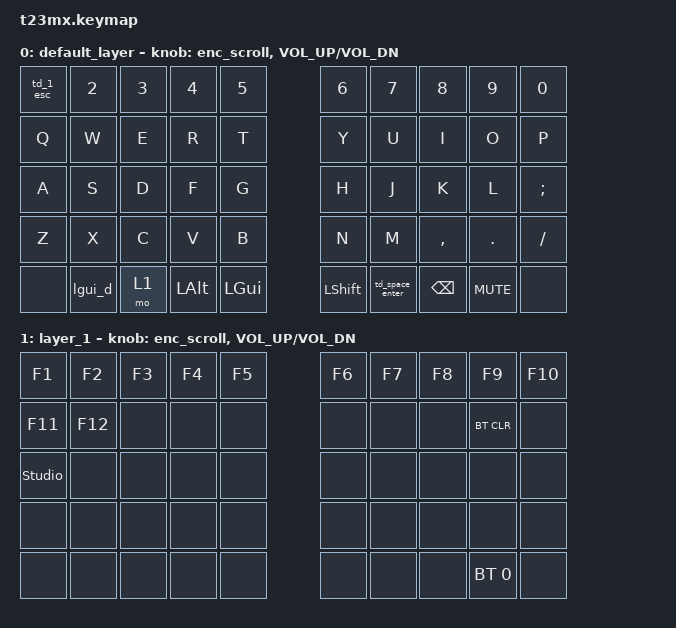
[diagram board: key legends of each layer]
// This file was generated from a template. Edit it to match your keyboard.
// See https://zmk.dev/docs/development/hardware-integration/new-shield for more instructions.

#include <behaviors.dtsi>
#include <dt-bindings/zmk/keys.h>
#include <dt-bindings/zmk/bt.h>
#include <dt-bindings/zmk/pointing.h>

/ {
    behaviors {
        lgui_d: lgui_d {
            compatible = "zmk,behavior-macro";
            #binding-cells = <0>;
            bindings = <&macro_press &kp LGUI
                        &macro_tap   &kp D
                        &macro_release &kp LGUI>;
        };

        td_space_enter: td_space_enter {
            compatible = "zmk,behavior-tap-dance";
            #binding-cells = <0>;
            tapping-term-ms = <200>;
            bindings = <&kp SPACE>, <&kp ENTER>;
        };

        td_1_esc: td_1_esc {
            compatible = "zmk,behavior-tap-dance";
            #binding-cells = <0>;
            tapping-term-ms = <200>;
            bindings = <&kp N1>, <&kp ESC>;
        };

        enc_scroll: enc_scroll {
            compatible = "zmk,behavior-sensor-rotate";
            #sensor-binding-cells = <0>;
            bindings = <&msc SCRL_DOWN>, <&msc SCRL_UP>;
        };

    };

    // Define a default keymap here.
    // See https://zmk.dev/docs/development/hardware-integration/new-shield#default-keymap.
    keymap {
        compatible = "zmk,keymap";

        default_layer {
            bindings = <
                &td_1_esc &kp N2   &kp N3   &kp N4   &kp N5    &kp N6   &kp N7   &kp N8   &kp N9   &kp N0
                &kp Q    &kp W    &kp E    &kp R    &kp T     &kp Y    &kp U    &kp I    &kp O    &kp P
                &kp A    &kp S    &kp D    &kp F    &kp G     &kp H    &kp J    &kp K    &kp L    &kp SEMI
                &kp Z    &kp X    &kp C    &kp V    &kp B     &kp N    &kp M    &kp COMMA &kp DOT  &kp FSLH
                &none &lgui_d &mo 1 &kp LALT &kp LGUI         &kp LSHIFT &td_space_enter &kp BKSP &kp C_MUTE &none
            >;
            sensor-bindings = <&enc_scroll &inc_dec_kp C_VOL_UP C_VOL_DN>;
        };

        layer_1 {
            bindings = <
                &kp F1   &kp F2   &kp F3   &kp F4   &kp F5    &kp F6   &kp F7   &kp F8   &kp F9   &kp F10
                &kp F11  &kp F12  &none    &none    &none     &none    &none    &none    &bt BT_CLR &none
                &studio_unlock &none    &none    &none    &none     &none    &none    &none    &none    &none
                &none    &none    &none    &none    &none     &none    &none    &none    &none    &none
                &none    &none    &none    &none    &none     &none    &none    &none    &bt BT_SEL 0 &none
            >;
            sensor-bindings = <&enc_scroll &inc_dec_kp C_VOL_UP C_VOL_DN>;
        };
    };
};
